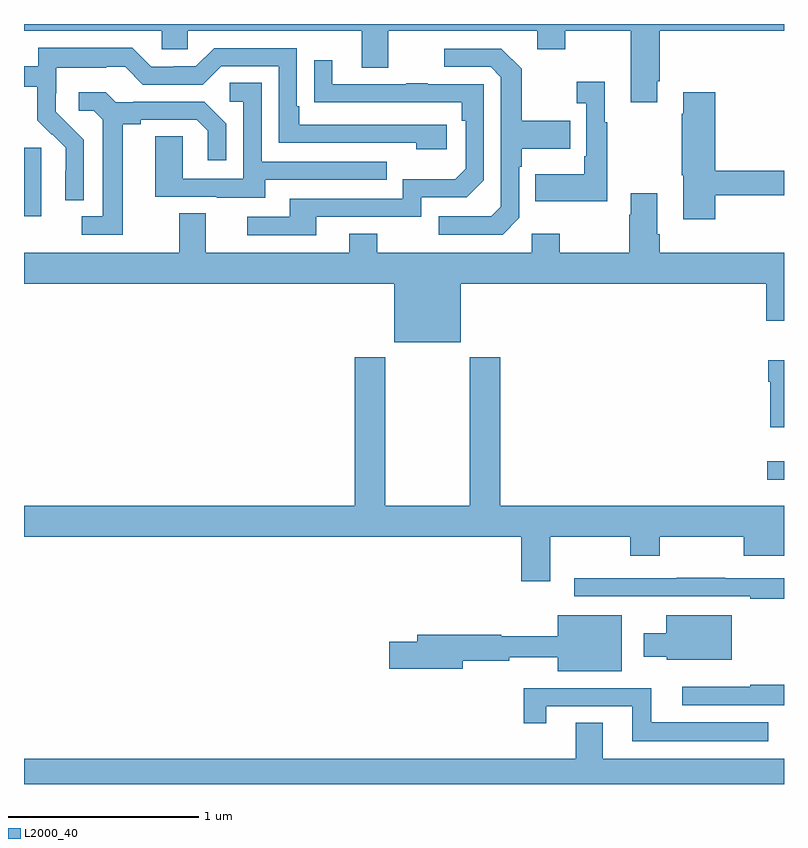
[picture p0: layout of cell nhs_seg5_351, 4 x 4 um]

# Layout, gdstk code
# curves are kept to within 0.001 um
import gdstk
lib = gdstk.Library(unit=1e-6, precision=1e-09)
def R(c, l, rs):  # rectangles x0, y0, x1, y1
    for r in rs: c.add(gdstk.rectangle(r[:2], r[2:], *l))
def P(c, l, *ps):  # polygons
    for p in ps: c.add(gdstk.Polygon(p, *l))
L2000_40 = (2000, 40)

nhs_seg5_351 = lib.new_cell('nhs_seg5_351')
R(nhs_seg5_351, L2000_40, [(136.911,850.4,137,850.497), (133,851.786,133.09,852.147)])
P(nhs_seg5_351, L2000_40, [(136.333,852.499),(136.346,852.499),(136.346,852.764),(137,852.764),(137,852.799),(133,852.799),(133,852.764),(133.725,852.764),(133.725,852.666),(133.863,852.666),(133.863,852.764),(134.777,852.764),(134.777,852.57),(134.917,852.57),(134.917,852.764),(135.701,852.764),(135.701,852.665),(135.849,852.665),(135.849,852.764),(136.193,852.764),(136.193,852.387),(136.333,852.387)],
  [(133.314,852.19),(133.168,852.338),(133.168,852.435),(133.17,852.435),(133.17,852.569),(133.433,852.569),(133.433,852.573),(133.533,852.573),(133.626,852.48),(133.941,852.48),(134.037,852.576),(134.34,852.576),(134.34,852.174),(135.065,852.174),(135.065,852.14),(135.226,852.14),(135.226,852.27),(134.449,852.27),(134.449,852.367),(134.436,852.367),(134.436,852.672),(134.001,852.672),(133.905,852.576),(133.787,852.576),(133.787,852.573),(133.671,852.573),(133.571,852.673),(133.074,852.673),(133.074,852.576),(133,852.576),(133,852.468),(133.069,852.468),(133.069,852.293),(133.146,852.216),(133.149,852.219),(133.22,852.149),(133.22,852.026),(133.218,852.026),(133.218,851.872),(133.314,851.872)],
  [(135.606,851.778),(135.606,852.047),(135.619,852.047),(135.619,852.143),(135.875,852.143),(135.875,852.291),(135.619,852.291),(135.619,852.563),(135.513,852.669),(135.213,852.669),(135.213,852.573),(135.456,852.573),(135.51,852.519),(135.51,851.838),(135.459,851.787),(135.183,851.787),(135.183,851.691),(135.519,851.691)],
  [(134.539,851.784),(135.09,851.784),(135.09,851.886),(135.33,851.886),(135.42,851.976),(135.42,852.483),(135.125,852.483),(135.125,852.488),(135.013,852.488),(135.013,852.483),(134.623,852.483),(134.623,852.607),(134.527,852.607),(134.527,852.388),(135.304,852.387),(135.304,852.29),(135.324,852.29),(135.324,852.036),(135.271,851.983),(134.994,851.983),(134.994,851.88),(134.399,851.88),(134.399,851.784),(134.175,851.784),(134.175,851.688),(134.539,851.688)],
  [(136.069,852.283),(136.057,852.283),(136.057,852.496),(135.909,852.496),(135.909,852.383),(135.96,852.383),(135.96,852.103),(135.948,852.103),(135.948,852.007),(135.691,852.007),(135.691,851.867),(136.069,851.867)],
  [(134.269,851.979),(134.909,851.979),(134.909,852.075),(134.25,852.075),(134.25,852.491),(134.082,852.491),(134.082,852.39),(134.154,852.39),(134.154,851.985),(133.836,851.985),(133.836,852.209),(133.691,852.209),(133.691,851.889),(134.015,851.889),(134.015,851.885),(134.269,851.885)],
  [(136.637,851.898),(137,851.898),(137,852.026),(136.637,852.026),(136.637,852.439),(136.469,852.439),(136.469,852.326),(136.462,852.326),(136.462,852.003),(136.469,852.003),(136.469,851.772),(136.637,851.772)],
  [(133.519,852.272),(133.615,852.272),(133.615,852.294),(133.91,852.294),(133.967,852.237),(133.967,852.081),(134.064,852.081),(134.064,852.274),(133.948,852.39),(133.576,852.39),(133.576,852.387),(133.482,852.387),(133.43,852.439),(133.287,852.439),(133.287,852.342),(133.368,852.342),(133.415,852.295),(133.415,851.787),(133.305,851.787),(133.305,851.691),(133.519,851.691)],
  [(135.298,851.432),(136.907,851.432),(136.907,851.238),(137,851.238),(137,851.596),(136.346,851.596),(136.346,851.692),(136.333,851.692),(136.333,851.908),(136.193,851.908),(136.193,851.795),(136.186,851.795),(136.186,851.596),(135.819,851.596),(135.819,851.695),(135.672,851.695),(135.672,851.596),(134.859,851.596),(134.859,851.695),(134.711,851.695),(134.711,851.596),(133.957,851.596),(133.957,851.804),(133.817,851.804),(133.817,851.596),(133,851.596),(133,851.432),(134.948,851.432),(134.948,851.123),(135.298,851.123)],
  [(135.769,850.1),(136.192,850.1),(136.192,850.001),(136.347,850.001),(136.347,850.1),(136.787,850.1),(136.787,850.001),(137,850.001),(137,850.264),(135.506,850.264),(135.506,851.044),(135.346,851.044),(135.346,850.264),(134.901,850.264),(134.901,851.044),(134.741,851.044),(134.741,850.264),(133,850.264),(133,850.1),(135.617,850.1),(135.617,849.867),(135.769,849.867)],
  [(137,851.029),(136.916,851.029),(136.916,850.916),(136.928,850.916),(136.928,850.676),(137,850.676)],
  [(137,849.882),(136.691,849.882),(136.691,849.884),(136.435,849.884),(136.435,849.882),(135.897,849.882),(135.897,849.786),(136.822,849.786),(136.822,849.774),(137,849.774)],
  [(136.726,849.688),(136.379,849.688),(136.379,849.592),(136.262,849.592),(136.262,849.47),(136.383,849.47),(136.383,849.452),(136.726,849.452)],
  [(136.147,849.688),(135.809,849.688),(135.809,849.577),(135.513,849.577),(135.513,849.584),(135.071,849.584),(135.071,849.548),(134.922,849.548),(134.922,849.406),(135.31,849.406),(135.31,849.448),(135.554,849.448),(135.554,849.467),(135.809,849.467),(135.809,849.392),(136.147,849.392)],
  [(137,849.322),(136.822,849.322),(136.822,849.31),(136.464,849.31),(136.464,849.213),(137,849.213)],
  [(136.918,849.124),(136.3,849.124),(136.3,849.303),(135.631,849.303),(135.631,849.12),(135.748,849.12),(135.748,849.207),(136.202,849.207),(136.202,849.023),(136.918,849.023)],
  [(137,848.932),(136.045,848.932),(136.045,849.122),(135.905,849.122),(135.905,848.932),(133,848.932),(133,848.799),(137,848.799)])

lib.write_gds('nhs_seg5_351.gds')
